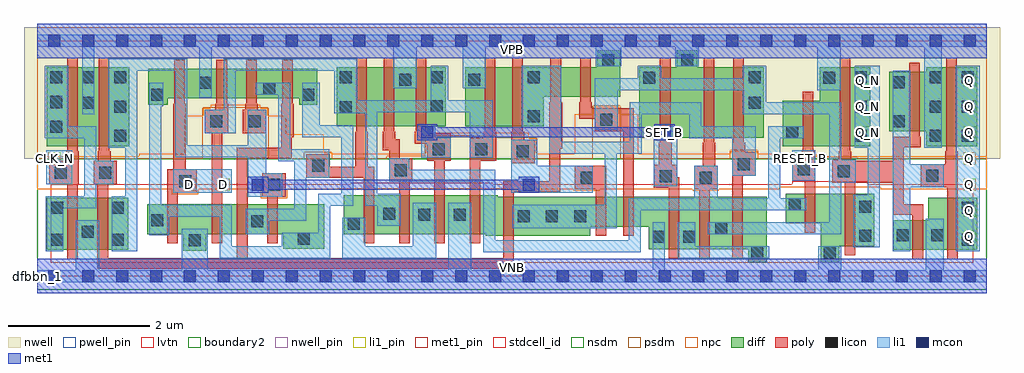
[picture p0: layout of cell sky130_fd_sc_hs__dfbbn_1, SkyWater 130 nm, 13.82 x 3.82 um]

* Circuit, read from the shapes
.subckt sky130_fd_sc_hs__dfbbn_1 CLK_N D Q Q_N RESET_B SET_B VGND VNB VPB VPWR
XM1 VGND CLK_N n1 VNB sky130_fd_pr__nfet_01v8_lvt w=0.74 l=0.15
XM2 n2 n1 VGND VNB sky130_fd_pr__nfet_01v8_lvt w=0.74 l=0.15
XM3 VGND D n3 VNB sky130_fd_pr__nfet_01v8_lvt w=0.42 l=0.15
XM4 n4 n5 VGND VNB sky130_fd_pr__nfet_01v8_lvt w=0.42 l=0.15
XM5 n6 n1 n4 VNB sky130_fd_pr__nfet_01v8_lvt w=0.42 l=0.15
XM6 n3 n2 n6 VNB sky130_fd_pr__nfet_01v8_lvt w=0.42 l=0.15
XM7 n5 n6 n7 VNB sky130_fd_pr__nfet_01v8_lvt w=0.55 l=0.15
XM8 n7 n8 n5 VNB sky130_fd_pr__nfet_01v8_lvt w=0.55 l=0.15
XM9 VGND SET_B n7 VNB sky130_fd_pr__nfet_01v8_lvt w=0.55 l=0.15
XM10 n9 n5 VGND VNB sky130_fd_pr__nfet_01v8_lvt w=0.55 l=0.15
XM11 n10 n1 n9 VNB sky130_fd_pr__nfet_01v8_lvt w=0.55 l=0.15
XM12 n11 n2 n10 VNB sky130_fd_pr__nfet_01v8_lvt w=0.42 l=0.15
XM13 VGND n12 n11 VNB sky130_fd_pr__nfet_01v8_lvt w=0.42 l=0.15
XM14 n13 SET_B VGND VNB sky130_fd_pr__nfet_01v8_lvt w=0.74 l=0.15
XM15 n12 n8 n13 VNB sky130_fd_pr__nfet_01v8_lvt w=0.74 l=0.15
XM16 n13 n10 n12 VNB sky130_fd_pr__nfet_01v8_lvt w=0.74 l=0.15
XM17 VGND RESET_B n8 VNB sky130_fd_pr__nfet_01v8_lvt w=0.42 l=0.15
XM18 Q_N n12 VGND VNB sky130_fd_pr__nfet_01v8_lvt w=0.74 l=0.15
XM19 VGND n12 n14 VNB sky130_fd_pr__nfet_01v8_lvt w=0.42 l=0.15
XM20 Q n14 VGND VNB sky130_fd_pr__nfet_01v8_lvt w=0.74 l=0.15
XM21 VPWR CLK_N n1 VPB sky130_fd_pr__pfet_01v8 w=1.12 l=0.15
XM22 n2 n1 VPWR VPB sky130_fd_pr__pfet_01v8 w=1.12 l=0.15
XM23 VPWR D n3 VPB sky130_fd_pr__pfet_01v8 w=0.42 l=0.15
XM24 n15 n5 VPWR VPB sky130_fd_pr__pfet_01v8 w=0.42 l=0.15
XM25 n6 n2 n15 VPB sky130_fd_pr__pfet_01v8 w=0.42 l=0.15
XM26 n3 n1 n6 VPB sky130_fd_pr__pfet_01v8 w=0.42 l=0.15
XM27 n16 n6 n5 VPB sky130_fd_pr__pfet_01v8 w=0.84 l=0.15
XM28 VPWR n8 n16 VPB sky130_fd_pr__pfet_01v8 w=0.84 l=0.15
XM29 n5 SET_B VPWR VPB sky130_fd_pr__pfet_01v8 w=0.84 l=0.15
XM30 n17 n5 VPWR VPB sky130_fd_pr__pfet_01v8 w=0.84 l=0.15
XM31 n10 n2 n17 VPB sky130_fd_pr__pfet_01v8 w=0.84 l=0.15
XM32 n18 n1 n10 VPB sky130_fd_pr__pfet_01v8 w=0.42 l=0.15
XM33 VPWR n12 n18 VPB sky130_fd_pr__pfet_01v8 w=0.42 l=0.15
XM34 VPWR SET_B n12 VPB sky130_fd_pr__pfet_01v8 w=1 l=0.15
XM35 n19 n8 VPWR VPB sky130_fd_pr__pfet_01v8 w=1 l=0.15
XM36 n12 n10 n19 VPB sky130_fd_pr__pfet_01v8 w=1 l=0.15
XM37 VPWR RESET_B n8 VPB sky130_fd_pr__pfet_01v8 w=0.64 l=0.15
XM38 Q_N n12 VPWR VPB sky130_fd_pr__pfet_01v8 w=1.12 l=0.15
XM39 VPWR n12 n14 VPB sky130_fd_pr__pfet_01v8 w=0.84 l=0.15
XM40 Q n14 VPWR VPB sky130_fd_pr__pfet_01v8 w=1.12 l=0.15
.ends

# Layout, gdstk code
import gdstk
lib = gdstk.Library(unit=1e-6, precision=1e-09)
def R(c, l, rs):  # rectangles x0, y0, x1, y1
    for r in rs: c.add(gdstk.rectangle(r[:2], r[2:], *l))
def A(c, l, x, y, w, h, nx, ny, dx, dy):  # array of equal rectangles
    R(c, l, [(x+i*dx, y+j*dy, x+i*dx+w, y+j*dy+h) for i in range(nx) for j in range(ny)])
def P(c, l, *ps):  # polygons
    for p in ps: c.add(gdstk.Polygon(p, *l))
nwell_pin = (64, 16)
nwell = (64, 20)
diff = (65, 20)
poly = (66, 20)
licon = (66, 44)
li1_pin = (67, 16)
li1 = (67, 20)
mcon = (67, 44)
met1_pin = (68, 16)
met1 = (68, 20)
stdcell_id = (81, 4)
nsdm = (93, 44)
psdm = (94, 20)
npc = (95, 20)
pwell_pin = (122, 16)
lvtn = (125, 44)
boundary2 = (236, 0)

sky130_fd_sc_hs__dfbbn_1 = lib.new_cell('sky130_fd_sc_hs__dfbbn_1')
R(sky130_fd_sc_hs__dfbbn_1, nwell_pin, [(0,3.085,13.44,3.33)])
R(sky130_fd_sc_hs__dfbbn_1, nwell, [(-0.19,1.66,13.63,3.52)])
R(sky130_fd_sc_hs__dfbbn_1, diff, [(0.135,0.37,1.285,1.11), (0.135,1.84,1.3,2.96), (4.235,2.12,5.785,2.96)])
P(sky130_fd_sc_hs__dfbbn_1, diff, [(3.965,2.935),(1.57,2.935),(1.57,2.425),(1.845,2.425),(1.845,2.515),(3.705,2.515),(3.705,2.425),(3.965,2.425)],
  [(4.065,1.015),(1.555,1.015),(1.555,0.595),(2.065,0.595),(2.065,0.36),(2.39,0.36),(2.39,0.595),(3.48,0.595),(3.48,0.385),(4.065,0.385)],
  [(8.25,3.195),(7.925,3.195),(7.925,2.96),(6.055,2.96),(6.055,2.12),(7.17,2.12),(7.17,2.54),(8.25,2.54)],
  [(10.285,2.96),(9.345,2.96),(9.345,3.195),(9.055,3.195),(9.055,2.96),(8.52,2.96),(8.52,1.96),(10.285,1.96)],
  [(10.325,1.12),(6.52,1.12),(6.52,1.145),(4.335,1.145),(4.335,0.595),(6.345,0.595),(6.345,0.57),(7.83,0.57),(7.83,0.7),(8.655,0.7),(8.655,0.38),(10.065,0.38),(10.065,0.195),(10.325,0.195)],
  [(11.79,2.96),(11.075,2.96),(11.075,2.48),(10.555,2.48),(10.555,1.84),(11.79,1.84)],
  [(11.85,1.165),(10.595,1.165),(10.595,0.745),(11.09,0.745),(11.09,0.195),(11.355,0.195),(11.355,0.425),(11.85,0.425)],
  [(13.305,2.96),(12.585,2.96),(12.585,2.89),(12.06,2.89),(12.06,2.05),(12.585,2.05),(12.585,1.84),(13.305,1.84)],
  [(13.305,1.11),(12.615,1.11),(12.615,0.79),(12.12,0.79),(12.12,0.37),(13.305,0.37)])
P(sky130_fd_sc_hs__dfbbn_1, poly, [(11.015,1.68),(11,1.68),(11,1.765),(10.985,1.765),(10.985,2.61),(10.835,2.61),(10.835,1.765),(10.82,1.765),(10.82,1.68),(10.685,1.68),(10.685,1.35),(10.865,1.35),(10.865,0.615),(11.015,0.615)],
  [(10.17,1.75),(10.02,1.75),(10.02,1.885),(10.005,1.885),(10.005,3.09),(9.855,3.09),(9.855,1.885),(9.84,1.885),(9.84,0.25),(9.99,0.25),(9.99,1.42),(10.17,1.42)],
  [(9.63,1.56),(9.6,1.56),(9.6,1.885),(9.585,1.885),(9.585,3.09),(9.435,3.09),(9.435,1.885),(9.42,1.885),(9.42,1.56),(9.3,1.56),(9.3,1.23),(9.37,1.23),(9.37,0.25),(9.52,0.25),(9.52,1.23),(9.63,1.23)],
  [(9.09,1.4),(9.06,1.4),(9.06,1.58),(8.98,1.58),(8.98,1.885),(8.965,1.885),(8.965,3.09),(8.815,3.09),(8.815,1.885),(8.8,1.885),(8.8,1.58),(8.73,1.58),(8.73,1.25),(8.94,1.25),(8.94,0.25),(9.09,0.25)],
  [(8.445,2.38),(7.85,2.38),(7.85,2.465),(7.835,2.465),(7.835,3.09),(7.685,3.09),(7.685,2.465),(7.67,2.465),(7.67,2.23),(7.89,2.23),(7.89,2.05),(8.295,2.05),(8.295,0.57),(8.445,0.57)],
  [(8.055,1.56),(7.61,1.56),(7.61,1.23),(7.905,1.23),(7.905,0.57),(8.055,0.57)],
  [(7.43,2.465),(7.415,2.465),(7.415,3.09),(7.265,3.09),(7.265,2.465),(7.25,2.465),(7.25,1.345),(6.595,1.345),(6.595,0.255),(2.975,0.255),(2.975,1.665),(3.6,1.665),(3.6,1.965),(3.63,1.965),(3.63,2.44),(3.615,2.44),(3.615,3.065),(3.465,3.065),(3.465,2.44),(3.45,2.44),(3.45,1.815),(2.825,1.815),(2.825,0.255),(1,0.255),(1,1.3),(1.125,1.3),(1.125,1.63),(1.035,1.63),(1.035,1.765),(1.02,1.765),(1.02,3.09),(0.87,3.09),(0.87,1.765),(0.855,1.765),(0.855,1.63),(0.795,1.63),(0.795,1.3),(0.85,1.3),(0.85,0.105),(6.745,0.105),(6.745,1.195),(7.4,1.195),(7.4,1.8),(7.43,1.8)],
  [(7.04,1.93),(6.89,1.93),(6.89,2.045),(6.875,2.045),(6.875,3.09),(6.725,3.09),(6.725,2.045),(6.71,2.045),(6.71,1.6),(7.04,1.6)],
  [(6.5,2.045),(6.485,2.045),(6.485,3.09),(6.335,3.09),(6.335,2.045),(6.32,2.045),(6.32,1.96),(6.12,1.96),(6.12,0.465),(6.27,0.465),(6.27,1.63),(6.5,1.63)],
  [(5.85,2.025),(5.52,2.025),(5.52,2.045),(5.505,2.045),(5.505,3.09),(5.355,3.09),(5.355,2.045),(5.34,2.045),(5.34,1.875),(5.52,1.875),(5.52,1.63),(5.62,1.63),(5.62,0.465),(5.77,0.465),(5.77,1.63),(5.85,1.63)],
  [(5.31,1.665),(5.13,1.665),(5.13,1.935),(5.07,1.935),(5.07,2.045),(5.055,2.045),(5.055,3.09),(4.905,3.09),(4.905,2.045),(4.89,2.045),(4.89,1.785),(4.98,1.785),(4.98,1.335),(5.12,1.335),(5.12,0.465),(5.27,0.465),(5.27,1.335),(5.31,1.335)],
  [(4.77,1.545),(4.68,1.545),(4.68,2.045),(4.665,2.045),(4.665,3.09),(4.515,3.09),(4.515,2.045),(4.5,2.045),(4.5,1.545),(4.14,1.545),(4.14,1.725),(3.81,1.725),(3.81,1.395),(4.62,1.395),(4.62,0.465),(4.77,0.465)],
  [(3.515,1.455),(3.185,1.455),(3.185,1.125),(3.255,1.125),(3.255,0.465),(3.405,0.465),(3.405,1.125),(3.515,1.125)],
  [(3.24,2.355),(3.12,2.355),(3.12,2.44),(3.105,2.44),(3.105,3.065),(2.955,3.065),(2.955,2.44),(2.94,2.44),(2.94,2.355),(2.91,2.355),(2.91,2.025),(3.24,2.025)],
  [(2.7,2.44),(2.685,2.44),(2.685,3.065),(2.535,3.065),(2.535,2.44),(2.52,2.44),(2.52,2.355),(2.37,2.355),(2.37,2.025),(2.465,2.025),(2.465,0.465),(2.615,0.465),(2.615,2.025),(2.7,2.025)],
  [(2.255,1.51),(2.1,1.51),(2.1,2.44),(2.085,2.44),(2.085,3.065),(1.935,3.065),(1.935,2.44),(1.92,2.44),(1.92,1.51),(1.84,1.51),(1.84,0.465),(1.99,0.465),(1.99,1.18),(2.255,1.18)],
  [(0.585,1.765),(0.57,1.765),(0.57,3.09),(0.42,3.09),(0.42,1.765),(0.405,1.765),(0.405,1.63),(0.165,1.63),(0.165,1.3),(0.42,1.3),(0.42,0.24),(0.57,0.24),(0.57,1.3),(0.585,1.3)],
  [(12.54,1.015),(12.265,1.015),(12.265,1.825),(12.51,1.825),(12.51,1.975),(12.495,1.975),(12.495,3.02),(12.345,3.02),(12.345,1.975),(12.115,1.975),(12.115,1.635),(11.585,1.635),(11.585,1.65),(11.525,1.65),(11.525,1.765),(11.51,1.765),(11.51,3.09),(11.36,3.09),(11.36,1.765),(11.345,1.765),(11.345,1.65),(11.255,1.65),(11.255,1.32),(11.43,1.32),(11.43,0.295),(11.58,0.295),(11.58,1.32),(12.115,1.32),(12.115,0.865),(12.39,0.865),(12.39,0.24),(12.54,0.24)],
  [(13.035,1.765),(13.02,1.765),(13.02,3.09),(12.87,3.09),(12.87,1.765),(12.855,1.765),(12.855,1.585),(12.505,1.585),(12.505,1.255),(12.885,1.255),(12.885,0.24),(13.035,0.24)])
A(sky130_fd_sc_hs__dfbbn_1, licon, 6.8, 0.76, 0.17, 0.17, 3, 1, 0.4, 0)
A(sky130_fd_sc_hs__dfbbn_1, licon, 11.575, 1.9, 0.17, 0.17, 1, 3, 0, 0.415)
A(sky130_fd_sc_hs__dfbbn_1, licon, 12.635, 1.9, 0.17, 0.17, 1, 3, 0, 0.415)
A(sky130_fd_sc_hs__dfbbn_1, licon, 13.085, 1.9, 0.17, 0.17, 1, 3, 0, 0.415)
A(sky130_fd_sc_hs__dfbbn_1, licon, 0.185, 2.73, 0.17, 0.17, 3, 1, 0.45, 0)
R(sky130_fd_sc_hs__dfbbn_1, licon, [(10.11,0.255,10.28,0.425), (11.135,0.255,11.305,0.425), (2.14,0.42,2.31,0.59), (0.195,0.43,0.365,0.6), (1.055,0.43,1.225,0.6), (13.09,0.43,13.26,0.6), (3.685,0.445,3.855,0.615), (8.715,0.475,8.885,0.645), (9.145,0.475,9.315,0.645), (11.635,0.485,11.805,0.655), (12.165,0.495,12.335,0.665), (12.66,0.495,12.83,0.665), (0.625,0.54,0.795,0.71), (9.595,0.595,9.765,0.765), (4.395,0.655,4.565,0.825), (3.03,0.69,3.2,0.86), (1.615,0.705,1.785,0.875), (5.395,0.785,5.565,0.955), (5.895,0.785,6.065,0.955), (4.895,0.795,5.065,0.965), (0.195,0.88,0.365,1.05), (1.055,0.88,1.225,1.05), (13.09,0.88,13.26,1.05), (11.635,0.9,11.805,1.07), (10.64,0.935,10.81,1.105), (3.265,1.205,3.435,1.375), (2.005,1.26,2.175,1.43), (7.69,1.31,7.86,1.48), (9.38,1.31,9.55,1.48), (8.81,1.33,8.98,1.5), (12.585,1.335,12.755,1.505), (0.245,1.38,0.415,1.55), (0.875,1.38,1.045,1.55), (11.335,1.4,11.505,1.57), (5.06,1.415,5.23,1.585), (10.765,1.43,10.935,1.6), (3.89,1.475,4.06,1.645), (9.92,1.5,10.09,1.67), (6.79,1.68,6.96,1.85), (5.6,1.71,5.77,1.88), (6.2,1.71,6.37,1.88), (1.085,1.9,1.255,2.07), (10.6,1.95,10.77,2.12), (0.185,2.03,0.355,2.2), (2.45,2.105,2.62,2.275), (2.99,2.105,3.16,2.275), (12.11,2.11,12.28,2.28), (7.97,2.13,8.14,2.3), (6.94,2.18,7.11,2.35), (4.28,2.305,4.45,2.475), (1.085,2.315,1.255,2.485), (5.57,2.32,5.74,2.49), (0.635,2.37,0.805,2.54), (10.07,2.37,10.24,2.54), (0.185,2.38,0.355,2.55), (1.615,2.485,1.785,2.655), (3.75,2.485,3.92,2.655), (3.2,2.565,3.37,2.735), (2.295,2.655,2.465,2.825), (12.11,2.66,12.28,2.83), (5.12,2.695,5.29,2.865), (6.1,2.695,6.27,2.865), (8.58,2.72,8.75,2.89), (11.125,2.72,11.295,2.89), (4.28,2.73,4.45,2.9), (5.57,2.73,5.74,2.9), (6.94,2.73,7.11,2.9), (10.07,2.73,10.24,2.9), (8,2.97,8.17,3.14), (9.115,2.97,9.285,3.14)])
A(sky130_fd_sc_hs__dfbbn_1, li1_pin, 13.115, 0.47, 0.17, 0.17, 1, 7, 0, 0.37)
A(sky130_fd_sc_hs__dfbbn_1, li1_pin, 11.675, 1.95, 0.17, 0.17, 1, 3, 0, 0.37)
R(sky130_fd_sc_hs__dfbbn_1, li1_pin, [(2.075,1.21,2.245,1.38), (2.555,1.21,2.725,1.38), (0.155,1.58,0.325,1.75), (10.715,1.58,10.885,1.75)])
R(sky130_fd_sc_hs__dfbbn_1, li1, [(13.005,0.35,13.34,2.98), (1.925,1.18,2.755,1.51), (8.73,1.275,9.06,2.12), (0.125,1.3,0.495,1.78), (10.685,1.35,11.015,1.78)])
P(sky130_fd_sc_hs__dfbbn_1, li1, [(0,3.245),(0,3.415),(13.44,3.415),(13.44,3.245),(12.805,3.245),(12.805,1.82),(12.555,1.82),(12.555,3.245),(11.375,3.245),(11.375,2.63),(11.045,2.63),(11.045,3.245),(9.365,3.245),(9.365,2.97),(9.035,2.97),(9.035,3.245),(8.27,3.245),(8.27,2.97),(7.905,2.97),(7.905,3.245),(6.35,3.245),(6.35,2.66),(6.02,2.66),(6.02,3.245),(5.37,3.245),(5.37,2.66),(5.04,2.66),(5.04,3.245),(2.465,3.245),(2.465,2.525),(2.295,2.525),(2.295,3.245),(0.805,3.245),(0.805,2.29),(0.635,2.29),(0.635,3.245)],
  [(0,-0.085),(0,0.085),(0.545,0.085),(0.545,0.79),(0.875,0.79),(0.875,0.085),(2.045,0.085),(2.045,0.67),(2.41,0.67),(2.41,0.085),(5.815,0.085),(5.815,1.035),(6.145,1.035),(6.145,0.085),(8.715,0.085),(8.715,0.765),(8.885,0.765),(8.885,0.085),(11.055,0.085),(11.055,0.425),(11.385,0.425),(11.385,0.085),(12.58,0.085),(12.58,0.81),(12.83,0.81),(12.83,0.085),(13.44,0.085),(13.44,-0.085)],
  [(11.575,1.82),(11.575,2.98),(11.925,2.98),(11.925,0.405),(11.555,0.405),(11.555,1.15),(11.755,1.15),(11.755,1.82)],
  [(12.11,0.35),(12.11,2.91),(12.36,2.91),(12.36,1.585),(12.835,1.585),(12.835,1.255),(12.36,1.255),(12.36,0.35)],
  [(6.71,1.18),(6.71,1.93),(7.075,1.93),(7.075,1.56),(7.865,1.56),(7.865,1.18)],
  [(3.975,1.165),(4.305,1.165),(4.305,1.965),(3.75,1.965),(3.75,2.735),(4,2.735),(4,2.135),(4.475,2.135),(4.475,0.995),(4.145,0.995),(4.145,0.255),(2.58,0.255),(2.58,0.84),(1.865,0.84),(1.865,0.575),(1.585,0.575),(1.585,2.735),(1.785,2.735),(1.785,2.405),(1.755,2.405),(1.755,1.01),(2.75,1.01),(2.75,0.425),(3.46,0.425),(3.46,0.615),(3.975,0.615)],
  [(3.805,0.785),(3.28,0.785),(3.28,0.595),(2.95,0.595),(2.95,0.955),(3.635,0.955),(3.635,1.625),(3.41,1.625),(3.41,2.565),(3.09,2.565),(3.09,2.735),(3.58,2.735),(3.58,1.795),(4.135,1.795),(4.135,1.395),(3.805,1.395)],
  [(10.32,2.46),(11.385,2.46),(11.385,1.65),(11.585,1.65),(11.585,1.32),(11.385,1.32),(11.385,0.595),(9.495,0.595),(9.495,0.765),(11.215,0.765),(11.215,2.29),(9.99,2.29),(9.99,2.63),(8.22,2.63),(8.22,2.07),(7.89,2.07),(7.89,2.8),(8.5,2.8),(8.5,2.98),(8.83,2.98),(8.83,2.8),(9.99,2.8),(9.99,2.98),(10.32,2.98)],
  [(7.415,1.9),(8.39,1.9),(8.39,2.46),(9.4,2.46),(9.4,2.12),(10.17,2.12),(10.17,1.42),(9.84,1.42),(9.84,1.95),(9.23,1.95),(9.23,2.29),(8.56,2.29),(8.56,1.73),(8.205,1.73),(8.205,0.68),(6.72,0.68),(6.72,1.01),(8.035,1.01),(8.035,1.73),(7.245,1.73),(7.245,2.1),(6.86,2.1),(6.86,2.98),(7.415,2.98)],
  [(4.53,2.49),(5.57,2.49),(5.57,2.98),(5.82,2.98),(5.82,2.49),(6.45,2.49),(6.45,1.675),(6.12,1.675),(6.12,2.32),(4.815,2.32),(4.815,1.165),(5.145,1.165),(5.145,0.715),(4.815,0.715),(4.815,0.995),(4.645,0.995),(4.645,2.305),(4.2,2.305),(4.2,2.905),(2.805,2.905),(2.805,2.025),(2.37,2.025),(2.37,2.355),(2.635,2.355),(2.635,3.075),(4.53,3.075)],
  [(2.125,3.075),(2.125,1.855),(2.975,1.855),(2.975,2.355),(3.24,2.355),(3.24,1.455),(3.465,1.455),(3.465,1.125),(2.975,1.125),(2.975,1.685),(1.955,1.685),(1.955,2.905),(1.415,2.905),(1.415,0.35),(1.055,0.35),(1.055,1.13),(1.245,1.13),(1.245,1.82),(1.005,1.82),(1.005,3.075)],
  [(0.435,2.12),(0.835,2.12),(0.835,1.63),(1.075,1.63),(1.075,1.3),(0.835,1.3),(0.835,0.96),(0.365,0.96),(0.365,0.35),(0.115,0.35),(0.115,1.13),(0.665,1.13),(0.665,1.95),(0.105,1.95),(0.105,2.98),(0.435,2.98)],
  [(5.315,0.425),(5.315,1.035),(5.645,1.035),(5.645,0.255),(4.315,0.255),(4.315,0.825),(4.645,0.825),(4.645,0.425)],
  [(8.375,1.105),(9.3,1.105),(9.3,1.56),(9.63,1.56),(9.63,1.105),(10.345,1.105),(10.345,2.12),(10.85,2.12),(10.85,1.95),(10.515,1.95),(10.515,1.105),(10.89,1.105),(10.89,0.935),(8.545,0.935),(8.545,0.34),(6.315,0.34),(6.315,1.335),(4.985,1.335),(4.985,1.665),(5.265,1.665),(5.265,1.505),(6.485,1.505),(6.485,0.51),(8.375,0.51)],
  [(9.065,0.255),(9.065,0.765),(9.315,0.765),(9.315,0.425),(10.36,0.425),(10.36,0.255)],
  [(5.635,1.96),(5.85,1.96),(5.85,1.675),(5.435,1.675),(5.435,2.15),(5.635,2.15)])
A(sky130_fd_sc_hs__dfbbn_1, mcon, 0.155, -0.085, 0.17, 0.17, 28, 2, 0.48, 3.33)
R(sky130_fd_sc_hs__dfbbn_1, mcon, [(3.035,1.21,3.205,1.38), (6.875,1.21,7.045,1.38), (5.435,1.95,5.605,2.12), (8.795,1.95,8.965,2.12)])
R(sky130_fd_sc_hs__dfbbn_1, met1_pin, [(0,0,13.44,0.245), (8.795,1.95,8.965,2.12), (0,3.085,13.44,3.33)])
R(sky130_fd_sc_hs__dfbbn_1, met1, [(0,-0.245,13.44,0.245), (0,3.085,13.44,3.575)])
P(sky130_fd_sc_hs__dfbbn_1, met1, [(2.975,1.18),(2.975,1.41),(3.265,1.41),(3.265,1.365),(6.815,1.365),(6.815,1.41),(7.105,1.41),(7.105,1.18),(6.815,1.18),(6.815,1.225),(3.265,1.225),(3.265,1.18)],
  [(5.375,1.92),(5.375,2.15),(5.665,2.15),(5.665,2.105),(8.735,2.105),(8.735,2.15),(9.025,2.15),(9.025,1.92),(8.735,1.92),(8.735,1.965),(5.665,1.965),(5.665,1.92)])
R(sky130_fd_sc_hs__dfbbn_1, stdcell_id, [(0,0,13.44,3.33)])
R(sky130_fd_sc_hs__dfbbn_1, nsdm, [(0,-0.19,13.44,1.66)])
P(sky130_fd_sc_hs__dfbbn_1, psdm, [(13.44,3.52),(0,3.52),(0,1.66),(2.34,1.66),(2.34,2.385),(3.27,2.385),(3.27,1.66),(3.78,1.66),(3.78,1.755),(4.17,1.755),(4.17,1.66),(4.95,1.66),(4.95,1.695),(5.49,1.695),(5.49,1.99),(6.48,1.99),(6.48,1.96),(7.07,1.96),(7.07,1.66),(7.86,1.66),(7.86,2.41),(8.25,2.41),(8.25,1.66),(9.81,1.66),(9.81,1.78),(10.2,1.78),(10.2,1.66),(10.655,1.66),(10.655,1.71),(11.045,1.71),(11.045,1.68),(11.615,1.68),(11.615,1.66),(13.44,1.66)])
P(sky130_fd_sc_hs__dfbbn_1, npc, [(13.44,1.7),(10.415,1.7),(10.415,1.73),(10.19,1.73),(10.19,1.77),(9.82,1.77),(9.82,1.73),(8.505,1.73),(8.505,2.295),(8.24,2.295),(8.24,2.4),(7.87,2.4),(7.87,2.295),(7.605,2.295),(7.605,1.73),(7.06,1.73),(7.06,1.95),(6.955,1.95),(6.955,2.03),(5.605,2.03),(5.605,1.98),(5.5,1.98),(5.5,1.73),(4.16,1.73),(4.16,1.745),(4.055,1.745),(4.055,2.01),(3.525,2.01),(3.525,2.27),(3.26,2.27),(3.26,2.375),(3.155,2.375),(3.155,2.425),(2.455,2.425),(2.455,2.375),(2.35,2.375),(2.35,2.27),(2.085,2.27),(2.085,1.73),(1.44,1.73),(1.44,1.7),(0,1.7),(0,1.23),(1.905,1.23),(1.905,1.16),(2.275,1.16),(2.275,1.23),(3.165,1.23),(3.165,1.105),(3.535,1.105),(3.535,1.23),(4.245,1.23),(4.245,1.235),(6.61,1.235),(6.61,1.23),(7.59,1.23),(7.59,1.21),(7.96,1.21),(7.96,1.23),(9.28,1.23),(9.28,1.21),(9.65,1.21),(9.65,1.23),(10.505,1.23),(10.505,1.255),(11.94,1.255),(11.94,1.23),(13.44,1.23)])
R(sky130_fd_sc_hs__dfbbn_1, pwell_pin, [(0,0,13.44,0.245)])
P(sky130_fd_sc_hs__dfbbn_1, lvtn, [(13.25,1.3),(11.76,1.3),(11.76,1.345),(10.685,1.345),(10.685,1.3),(6.45,1.3),(6.45,1.325),(4.44,1.325),(4.44,1.3),(0.19,1.3),(0.19,0.19),(13.25,0.19)])
R(sky130_fd_sc_hs__dfbbn_1, boundary2, [(0,0,13.44,3.33)])
sky130_fd_sc_hs__dfbbn_1.add(gdstk.Label('dfbbn_1', (0,0), layer=83, texttype=44))
sky130_fd_sc_hs__dfbbn_1.add(gdstk.Label('VNB', (6.72,0.123), layer=64, texttype=59))
sky130_fd_sc_hs__dfbbn_1.add(gdstk.Label('VPB', (6.72,3.208), layer=64, texttype=5))
sky130_fd_sc_hs__dfbbn_1.add(gdstk.Label('SET_B', (8.88,2.035), layer=68, texttype=5))
sky130_fd_sc_hs__dfbbn_1.add(gdstk.Label('VPWR', (6.72,3.208), layer=68, texttype=5))
sky130_fd_sc_hs__dfbbn_1.add(gdstk.Label('VGND', (6.72,0.123), layer=68, texttype=5))
sky130_fd_sc_hs__dfbbn_1.add(gdstk.Label('Q', (13.2,0.555), layer=67, texttype=5))
sky130_fd_sc_hs__dfbbn_1.add(gdstk.Label('Q', (13.2,0.925), layer=67, texttype=5))
sky130_fd_sc_hs__dfbbn_1.add(gdstk.Label('Q', (13.2,1.295), layer=67, texttype=5))
sky130_fd_sc_hs__dfbbn_1.add(gdstk.Label('Q', (13.2,1.665), layer=67, texttype=5))
sky130_fd_sc_hs__dfbbn_1.add(gdstk.Label('Q', (13.2,2.035), layer=67, texttype=5))
sky130_fd_sc_hs__dfbbn_1.add(gdstk.Label('Q', (13.2,2.405), layer=67, texttype=5))
sky130_fd_sc_hs__dfbbn_1.add(gdstk.Label('Q', (13.2,2.775), layer=67, texttype=5))
sky130_fd_sc_hs__dfbbn_1.add(gdstk.Label('D', (2.16,1.295), layer=67, texttype=5))
sky130_fd_sc_hs__dfbbn_1.add(gdstk.Label('D', (2.64,1.295), layer=67, texttype=5))
sky130_fd_sc_hs__dfbbn_1.add(gdstk.Label('RESET_B', (10.8,1.665), layer=67, texttype=5))
sky130_fd_sc_hs__dfbbn_1.add(gdstk.Label('CLK_N', (0.24,1.665), layer=67, texttype=5))
sky130_fd_sc_hs__dfbbn_1.add(gdstk.Label('Q_N', (11.76,2.035), layer=67, texttype=5))
sky130_fd_sc_hs__dfbbn_1.add(gdstk.Label('Q_N', (11.76,2.405), layer=67, texttype=5))
sky130_fd_sc_hs__dfbbn_1.add(gdstk.Label('Q_N', (11.76,2.775), layer=67, texttype=5))

lib.write_gds('sky130_fd_sc_hs__dfbbn_1.gds')
